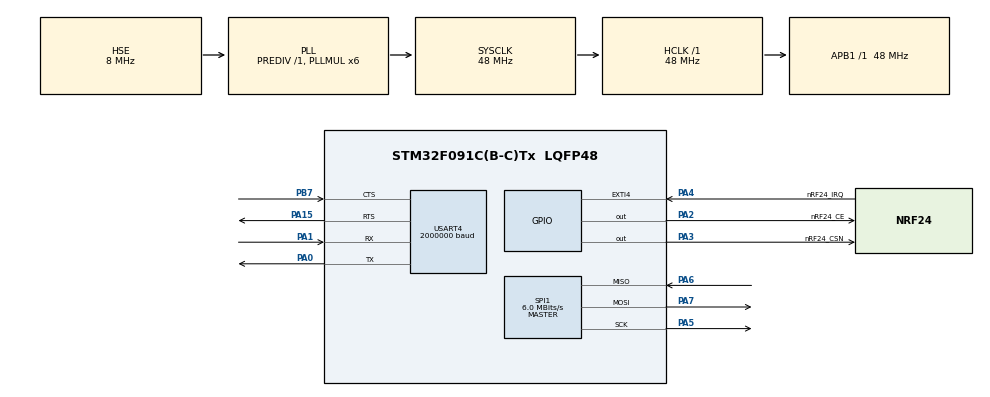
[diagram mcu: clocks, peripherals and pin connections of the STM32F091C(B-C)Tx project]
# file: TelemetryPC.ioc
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Mcu.Family=STM32F0
Mcu.Name=STM32F091C(B-C)Tx
Mcu.Package=LQFP48
NVIC.EXTI4_15_IRQn=true\:0\:0\:false\:false\:true
NVIC.TIM7_IRQn=true\:0\:0\:false\:false\:true
NVIC.USART3_8_IRQn=true\:0\:0\:false\:false\:true
PA0.Mode=Asynchronous
PA0.Signal=USART4_TX
PA1.Mode=Asynchronous
PA1.Signal=USART4_RX
PA15.Mode=CTS_RTS
PA15.Signal=USART4_RTS
PA2.GPIO_Label=nRF24_CE
PA2.GPIO_Speed=GPIO_SPEED_FREQ_HIGH
PA2.Signal=GPIO_Output
PA3.GPIO_Label=nRF24_CSN
PA3.GPIO_Speed=GPIO_SPEED_FREQ_HIGH
PA3.PinState=GPIO_PIN_SET
PA3.Signal=GPIO_Output
PA4.GPIO_Label=nRF24_IRQ
PA4.GPIO_ModeDefaultEXTI=GPIO_MODE_IT_FALLING
PA4.Signal=GPXTI4
PA5.Mode=Full_Duplex_Master
PA5.Signal=SPI1_SCK
PA6.Mode=Full_Duplex_Master
PA6.Signal=SPI1_MISO
PA7.Mode=Full_Duplex_Master
PA7.Signal=SPI1_MOSI
PB7.Mode=CTS_RTS
PB7.Signal=USART4_CTS
PF0-OSC_IN.Mode=HSE-External-Clock-Source
PF0-OSC_IN.Signal=RCC_OSC_IN
ProjectManager.HeapSize=0x200
ProjectManager.StackSize=0x400
ProjectManager.TargetToolchain=TrueSTUDIO
RCC.AHBFreq_Value=48000000
RCC.APB1Freq_Value=48000000
RCC.APB1TimFreq_Value=48000000
RCC.EnbaleCSS=true
RCC.HCLKFreq_Value=48000000
RCC.PLLMUL=RCC_PLL_MUL6
RCC.PLLSourceVirtual=RCC_PLLSOURCE_HSE
RCC.SYSCLKFreq_VALUE=48000000
RCC.SYSCLKSource=RCC_SYSCLKSOURCE_PLLCLK
SPI1.BaudRatePrescaler=SPI_BAUDRATEPRESCALER_8
SPI1.CalculateBaudRate=6.0 MBits/s
SPI1.DataSize=SPI_DATASIZE_8BIT
SPI1.Direction=SPI_DIRECTION_2LINES
SPI1.Mode=SPI_MODE_MASTER
SPI1.VirtualType=VM_MASTER
TIM7.AutoReloadPreload=TIM_AUTORELOAD_PRELOAD_ENABLE
TIM7.Period=19
TIM7.Prescaler=47999
USART4.BaudRate=2000000
USART4.VirtualMode-Asynchronous=VM_ASYNC
USART4.WordLength=WORDLENGTH_8B
VP_TIM7_VS_ClockSourceINT.Mode=Enable_Timer
board=TelemetryPC

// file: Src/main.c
/**
  ******************************************************************************
  * File Name          : main.c
  * Description        : Main program body
  ******************************************************************************
  ** This notice applies to any and all portions of this file
  * that are not between comment pairs USER CODE BEGIN and
  * USER CODE END. Other portions of this file, whether
  * inserted by the user or by software development tools
  * are owned by their respective copyright owners.
  *
  * COPYRIGHT(c) 2017 STMicroelectronics
  *
  * Redistribution and use in source and binary forms, with or without modification,
  * are permitted provided that the following conditions are met:
  *   1. Redistributions of source code must retain the above copyright notice,
  *      this list of conditions and the following disclaimer.
  *   2. Redistributions in binary form must reproduce the above copyright notice,
  *      this list of conditions and the following disclaimer in the documentation
  *      and/or other materials provided with the distribution.
  *   3. Neither the name of STMicroelectronics nor the names of its contributors
  *      may be used to endorse or promote products derived from this software
  *      without specific prior written permission.
  *
  * THIS SOFTWARE IS PROVIDED BY THE COPYRIGHT HOLDERS AND CONTRIBUTORS "AS IS"
  * AND ANY EXPRESS OR IMPLIED WARRANTIES, INCLUDING, BUT NOT LIMITED TO, THE
  * IMPLIED WARRANTIES OF MERCHANTABILITY AND FITNESS FOR A PARTICULAR PURPOSE ARE
  * DISCLAIMED. IN NO EVENT SHALL THE COPYRIGHT HOLDER OR CONTRIBUTORS BE LIABLE
  * FOR ANY DIRECT, INDIRECT, INCIDENTAL, SPECIAL, EXEMPLARY, OR CONSEQUENTIAL
  * DAMAGES (INCLUDING, BUT NOT LIMITED TO, PROCUREMENT OF SUBSTITUTE GOODS OR
  * SERVICES; LOSS OF USE, DATA, OR PROFITS; OR BUSINESS INTERRUPTION) HOWEVER
  * CAUSED AND ON ANY THEORY OF LIABILITY, WHETHER IN CONTRACT, STRICT LIABILITY,
  * OR TORT (INCLUDING NEGLIGENCE OR OTHERWISE) ARISING IN ANY WAY OUT OF THE USE
  * OF THIS SOFTWARE, EVEN IF ADVISED OF THE POSSIBILITY OF SUCH DAMAGE.
  *
  ******************************************************************************
  */
#include "main.h"
#include "stm32f0xx_hal.h"
#include "spi.h"
#include "tim.h"
#include "usart.h"
#include "gpio.h"

/* USER CODE BEGIN Includes */
#include "network.h"
#include "FTDI.h"
#include <usb.h>
#include "CAN_data.h"
/* USER CODE END Includes */

/* USER CODE BEGIN PV */
typedef enum {WaitForUSBConnection, WaitForWirelessConnection, WirelessHandler} smStates_t;
/* Private variables ---------------------------------------------------------*/
/* USER CODE END PV */

void SystemClock_Config(void);

/* USER CODE BEGIN PFP */
/* Private function prototypes -----------------------------------------------*/

/* USER CODE END PFP */

/* USER CODE BEGIN 0 */
Network_t * MyNetwork = &network[0];
/* USER CODE END 0 */

int main(void)
{

  /* USER CODE BEGIN 1 */
	smStates_t state;

	uint8_t messageSize;

	CanData_payload_t TxMessage;
	CanData_payload_t RxMessage;

	uint8_t startChar;
  /* USER CODE END 1 */

  /* MCU Configuration----------------------------------------------------------*/

  /* Reset of all peripherals, Initializes the Flash interface and the Systick. */
  HAL_Init();

  /* Configure the system clock */
  SystemClock_Config();

  /* Initialize all configured peripherals */
  MX_GPIO_Init();
  MX_SPI1_Init();
  MX_USART4_UART_Init();
  MX_TIM7_Init();

  /* Infinite loop */
  /* USER CODE BEGIN WHILE */
  state = WaitForUSBConnection;
  FTDI_Init();
  Network_DeviceInit();
  static uint8_t address[] = { 'A', 'G', 'H'};
  while(Network_OK != Network_Init(MyNetwork, (uint8_t *) &address, 3)){}
  Network_SetUpClient(MyNetwork);

  HAL_TIM_Base_Start_IT(&htim7);
	int a;
  while (1){

	//State machine start
	switch(state){

	case WaitForUSBConnection:
		HAL_UART_Receive(&huart4, &startChar, 1, HAL_MAX_DELAY);
		HAL_UART_Transmit_IT(&huart4, TxMessage.payload, 32);
		HAL_UART_Receive_IT(&huart4, RxMessage.payload, 32);
		//USB_EstablishConnection();
		state = WaitForWirelessConnection;
		break;

	case WaitForWirelessConnection:
		while(Network_Connect(MyNetwork, 100) != Network_OK){
			a++;
		}
		state = WirelessHandler;
		break;

	case WirelessHandler:

		if(Network_OK == Network_Receive(MyNetwork, RxMessage.payload, &messageSize)){
			if(RxMessage.message.header.control == 0){
				FTDI_Send(RxMessage.payload, messageSize);
			}
		}

		if(FTDI_OK == FTDI_Receive(TxMessage.payload, &messageSize)){
			Network_Send(MyNetwork, TxMessage.payload, messageSize);
		}

		break;
	}
  /* USER CODE END WHILE */

  }

}

/** System Clock Configuration
*/
void SystemClock_Config(void)
{

  RCC_OscInitTypeDef RCC_OscInitStruct;
  RCC_ClkInitTypeDef RCC_ClkInitStruct;

    /**Initializes the CPU, AHB and APB busses clocks
    */
  RCC_OscInitStruct.OscillatorType = RCC_OSCILLATORTYPE_HSE;
  RCC_OscInitStruct.HSEState = RCC_HSE_BYPASS;
  RCC_OscInitStruct.HSIState = RCC_HSI_ON;
  RCC_OscInitStruct.PLL.PLLState = RCC_PLL_ON;
  RCC_OscInitStruct.PLL.PLLSource = RCC_PLLSOURCE_HSE;
  RCC_OscInitStruct.PLL.PLLMUL = RCC_PLL_MUL6;
  RCC_OscInitStruct.PLL.PREDIV = RCC_PREDIV_DIV1;
  if (HAL_RCC_OscConfig(&RCC_OscInitStruct) != HAL_OK)
  {
    _Error_Handler(__FILE__, __LINE__);
  }

    /**Initializes the CPU, AHB and APB busses clocks
    */
  RCC_ClkInitStruct.ClockType = RCC_CLOCKTYPE_HCLK|RCC_CLOCKTYPE_SYSCLK
                              |RCC_CLOCKTYPE_PCLK1;
  RCC_ClkInitStruct.SYSCLKSource = RCC_SYSCLKSOURCE_PLLCLK;
  RCC_ClkInitStruct.AHBCLKDivider = RCC_SYSCLK_DIV1;
  RCC_ClkInitStruct.APB1CLKDivider = RCC_HCLK_DIV1;

  if (HAL_RCC_ClockConfig(&RCC_ClkInitStruct, FLASH_LATENCY_1) != HAL_OK)
  {
    _Error_Handler(__FILE__, __LINE__);
  }

    /**Enables the Clock Security System
    */
  HAL_RCC_EnableCSS();

    /**Configure the Systick interrupt time
    */
  HAL_SYSTICK_Config(HAL_RCC_GetHCLKFreq()/1000);

    /**Configure the Systick
    */
  HAL_SYSTICK_CLKSourceConfig(SYSTICK_CLKSOURCE_HCLK);

  /* SysTick_IRQn interrupt configuration */
  HAL_NVIC_SetPriority(SysTick_IRQn, 0, 0);
}

void _Error_Handler(char * file, int line)
{
  while(1)
  {
  }
}

/************************ (C) COPYRIGHT STMicroelectronics *****END OF FILE****/
